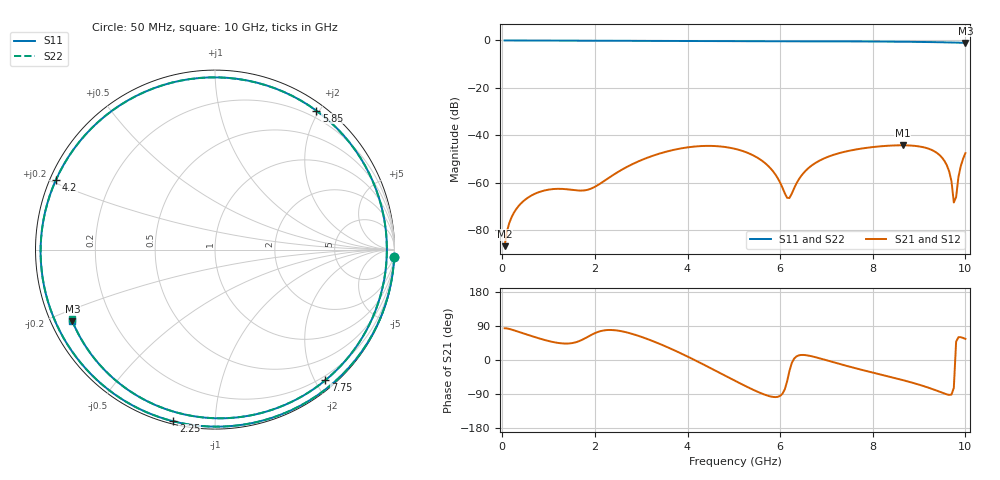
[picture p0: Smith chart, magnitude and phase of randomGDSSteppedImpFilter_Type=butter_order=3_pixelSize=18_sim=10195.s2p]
! freq	dB(S11)	phase(S11)	dB(S12)	phase(S12)
!  dB(S21)	phase(S21)	dB(S22)	phase(S22)
!S-par simulation data
#  GHz  S  DB  R 50
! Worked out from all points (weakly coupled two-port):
!   200 points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, 50 MHz to 10 GHz, reference 50 ohm
!   highest |S21| = -44.27 dB at 8.65 GHz (marker M1); lowest = -86.9 dB at 50 MHz (marker M2)
!   lowest |S11| = -1.0 dB at 10 GHz (marker M3), VSWR 17.05, Z = 3.1 - j11.8 ohm
!   |S11| at or under -10 dB: nowhere
!   |S22| runs from -1.0 to 0.0 dB; largest |S21 - S12| = 0
!   S11 on the Smith chart (normalised r, x): 50 MHz: 1, -49; 2.25 GHz: 0.01, -0.79; 4.2 GHz: 0.02, +0.21; 5.85 GHz: 0.10, +1.96; 7.75 GHz: 0.14, -2.15; 10 GHz: 0.06, -0.24
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0.05  -0.00 -2.3  -86.86 83.8  -86.86 83.8  -0.00 -2.3
0.35  -0.02 -16.2  -69.96 74.5  -69.96 74.5  -0.02 -16.2
0.65  -0.03 -30.0  -65.25 62.5  -65.25 62.5  -0.03 -30.0
1.75  -0.11 -80.4  -63.35 54.8  -63.35 54.8  -0.11 -80.4
2.25  -0.14 -103.7  -58.68 78.9  -58.68 78.9  -0.14 -103.7
3.4  -0.22 -160.0  -47.74 42.5  -47.74 42.5  -0.22 -160.0
4.2  -0.29 156.3  -44.71 -2.9  -44.71 -2.9  -0.29 156.2
5.05  -0.35 104.6  -45.88 -56.4  -45.88 -56.4  -0.35 104.5
5.85  -0.37 53.9  -55.34 -97.5  -55.34 -97.5  -0.37 53.7
6.2  -0.37 32.4  -66.52 -29.4  -66.52 -29.4  -0.37 32.1
6.45  -0.37 17.6  -57.31 13.2  -57.31 13.2  -0.37 17.3
6.7  -0.37 3.3  -52.53 9.3  -52.53 9.3  -0.38 3.1
7.75  -0.42 -49.8  -45.66 -25.6  -45.66 -25.6  -0.42 -50.1
8.35  -0.49 -76.5  -44.43 -43.8  -44.43 -43.8  -0.49 -76.9
8.65  -0.54 -89.4  -44.27 -53.1  -44.27 -53.1  -0.54 -89.8
9.5  -0.77 -127.3  -49.58 -86.4  -49.58 -86.4  -0.78 -127.9
9.65  -0.83 -134.6  -55.32 -92.1  -55.32 -92.1  -0.84 -135.3
9.7  -0.86 -137.2  -59.46 -91.2  -59.46 -91.2  -0.86 -137.8
9.75  -0.88 -139.7  -68.42 -73.7  -68.42 -73.7  -0.89 -140.4
9.8  -0.91 -142.3  -66.10 48.5  -66.10 48.5  -0.91 -143.1
9.9  -0.96 -147.7  -53.09 60.2  -53.09 60.2  -0.97 -148.5
10  -1.02 -153.3  -47.59 55.6  -47.59 55.6  -1.03 -154.1
